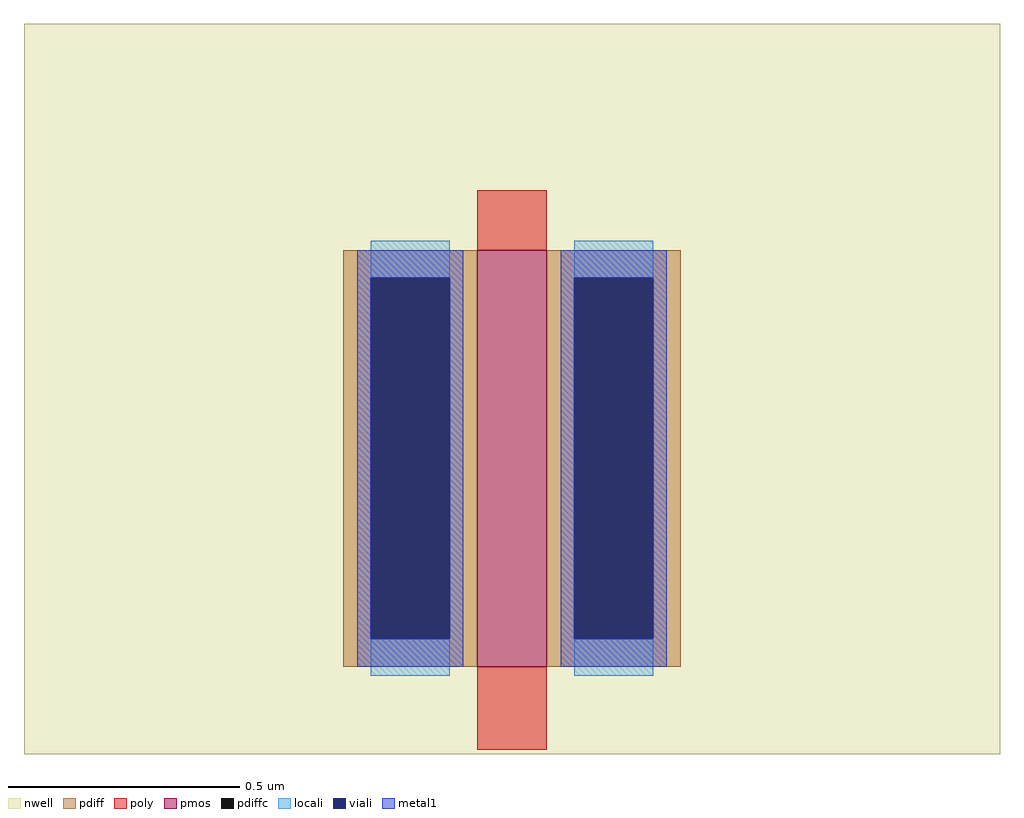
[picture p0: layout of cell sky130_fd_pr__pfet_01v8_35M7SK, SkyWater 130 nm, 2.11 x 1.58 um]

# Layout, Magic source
magic
tech sky130A
magscale 1 2
<< nwell >>
rect -211 -128 211 188
<< pmos >>
rect -15 -90 15 90
<< pdiff >>
rect -73 78 -15 90
rect -73 -78 -61 78
rect -27 -78 -15 78
rect -73 -90 -15 -78
rect 15 78 73 90
rect 15 -78 27 78
rect 61 -78 73 78
rect 15 -90 73 -78
<< pdiffc >>
rect -61 -78 -27 78
rect 27 -78 61 78
<< poly >>
rect -15 90 15 116
rect -15 -126 15 -90
<< locali >>
rect -61 78 -27 94
rect -61 -94 -27 -78
rect 27 78 61 94
rect 27 -94 61 -78
<< viali >>
rect -61 -78 -27 78
rect 27 -78 61 78
<< metal1 >>
rect -67 78 -21 90
rect -67 -78 -61 78
rect -27 -78 -21 78
rect -67 -90 -21 -78
rect 21 78 67 90
rect 21 -78 27 78
rect 61 -78 67 78
rect 21 -90 67 -78
<< properties >>
string gencell sky130_fd_pr__pfet_01v8
string FIXED_BBOX -158 -256 158 256
string parameters w 0.9 l 0.15 m 1 nf 1 diffcov 100 polycov 100 guard 1 glc 1 grc 1 gtc 1 gbc 1 tbcov 100 rlcov 100 topc 1 botc 1 poverlap 0 doverlap 1 lmin 0.15 wmin 0.42 compatible {sky130_fd_pr__pfet_01v8  sky130_fd_pr__pfet_01v8_lvt sky130_fd_pr__pfet_01v8_hvt  sky130_fd_pr__pfet_g5v0d10v5} full_metal 1 viagl 0 viagr 0 viagt 0 viagb 0 viagate 100 viadrn 100 viasrc 100
string library sky130
<< end >>
